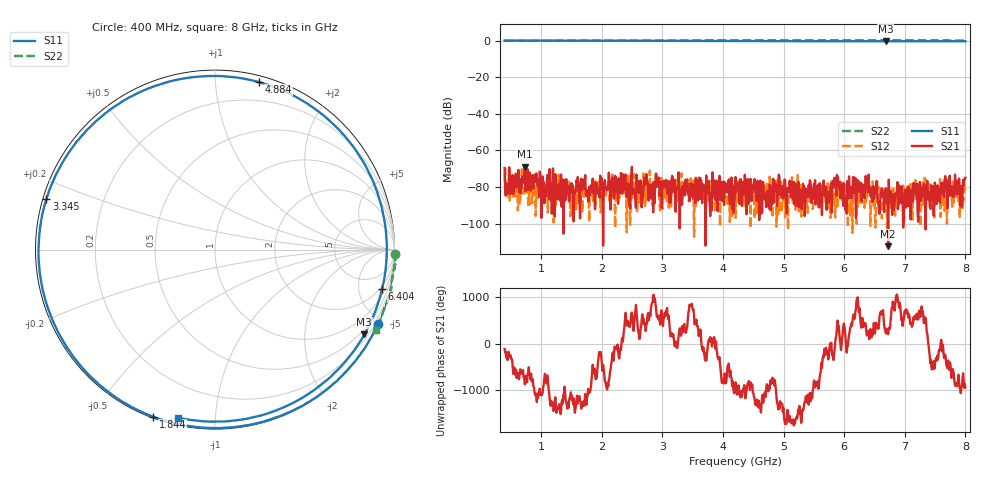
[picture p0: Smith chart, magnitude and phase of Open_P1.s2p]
!Agilent Technologies,N5227A,US51270349,A.09.80.20
!Agilent N5227A: A.09.80.20
!Date: Wednesday, February 17, 2021 20:07:53
!Correction: S11(Full 2 Port(1,2))
!S21(Full 2 Port(1,2))
!S12(Full 2 Port(1,2))
!S22(Full 2 Port(1,2))
!S2P File: Measurements: S11, S21, S12, S22:
# Hz S  RI  R 50
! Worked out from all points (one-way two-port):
!   801 points, 400 MHz to 8 GHz, reference 50 ohm
!   highest |S21| = -68.76 dB at 732.5 MHz (marker M1); lowest = -112.2 dB at 6.727 GHz (marker M2)
!   lowest |S11| = -0.4 dB at 6.689 GHz (marker M3), VSWR 44.63, Z = 17 - j188 ohm
!   |S11| at or under -10 dB: nowhere
!   |S22| runs from 0.0 to 0.1 dB; largest |S21 - S12| = 0.00048
!   S11 on the Smith chart (normalised r, x): 400 MHz: 0.02, -4.62; 1.844 GHz: 0.01, -0.70; 3.345 GHz: 0.01, +0.15; 4.884 GHz: 0.05, +1.29; 6.404 GHz: 1.62, -8.31; 8 GHz: 0.03, -0.80
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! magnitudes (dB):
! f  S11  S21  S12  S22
! 400 MHz  0.0  -69.6  -77.2  0.0
! 447.5 MHz  0.0  -81.9  -76.6  0.0
! 732.5 MHz  0.0  -68.8  -82.4  0.0
! 1.046 GHz  0.0  -77.2  -84.6  0.0
! 1.673 GHz  -0.1  -81.5  -87.9  0.1
! 1.844 GHz  -0.1  -78.6  -77.6  0.0
! 2.813 GHz  -0.1  -78.8  -78.8  0.0
! 2.937 GHz  -0.1  -76.6  -82.5  0.0
! 3.345 GHz  -0.2  -82.6  -78.7  0.0
! 4.2 GHz  -0.2  -84.5  -85.0  0.1
! 4.884 GHz  -0.3  -78.8  -101.6  0.1
! 5.473 GHz  -0.3  -83.1  -90.1  0.0
! 5.729 GHz  -0.4  -84.1  -77.9  0.0
! 5.862 GHz  -0.4  -80.9  -79.3  0.0
! 6.404 GHz  -0.4  -73.2  -80.0  0.0
! 6.689 GHz  -0.4  -80.7  -87.4  0.0
! 6.727 GHz  -0.4  -112.2  -85.8  0.0
! 6.737 GHz  -0.4  -76.0  -82.2  0.0
! 7.553 GHz  -0.4  -87.4  -79.3  0.0
! 7.705 GHz  -0.4  -91.5  -85.1  0.0
! 7.915 GHz  -0.4  -88.6  -86.0  0.0
! 8 GHz  -0.4  -74.9  -81.7  0.0
